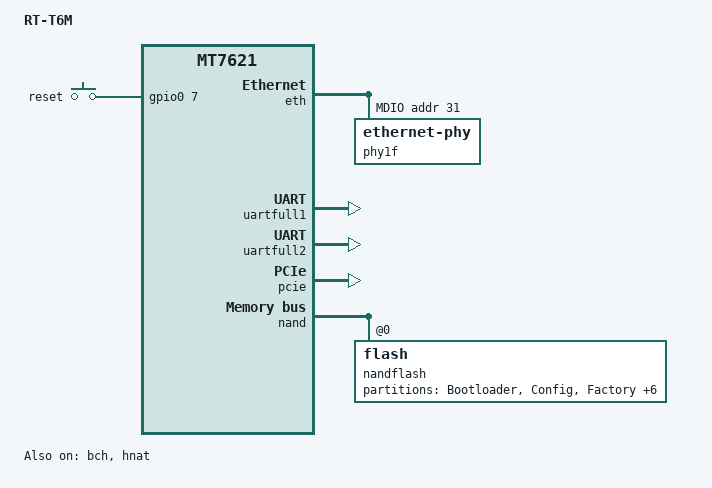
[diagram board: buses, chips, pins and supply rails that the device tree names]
/dts-v1/;

#include "mt7621.dtsi"
#include <dt-bindings/input/input.h>

/ {
	compatible = "mediatek,mt7621-rt-t6m", "mediatek,mt7621-soc";
	model = "RT-T6M";

	chosen {
		bootargs = "console=ttyS0,115200  ROOT=/dev/mtdblock5";
	};

	gpio-keys-polled {
		compatible = "gpio-keys-polled";
		#address-cells = <1>;
		#size-cells = <0>;
		poll-interval = <20>;

		reset {
			label = "reset";
			gpios = <&gpio0 7 0>;
			linux,code = <KEY_RESTART>;
		};
	};
};

&bch {
	status = "okay";
};

&eth {
        status = "okay";
		pinctrl-names = "default";
		pinctrl-0 = <&rgmii1_pins &rgmii2_pins &mdio_pins>;

        gmac0: mac@0 {
                compatible = "mediatek,eth-mac";
                reg = <0>;
                phy-mode = "trgmii";
                fixed-link {
                        speed = <1000>;
                        full-duplex;
                        pause;
                };
        };

        gmac1: mac@1 {
                compatible = "mediatek,eth-mac";
                reg = <1>;
                phy-mode = "rgmii";
                fixed-link {
                        speed = <1000>;
                        full-duplex;
                        pause;
                };
        };

        mdio: mdio-bus {
                #address-cells = <1>;
                #size-cells = <0>;

                phy1f: ethernet-phy@1f {
                        reg = <0x1f>;
                        phy-mode = "rgmii";
                };
        };
};

&gsw {
        mediatek,mdio = <&mdio>;
        mediatek,portmap = "wllll";
        mediatek,mcm;
	mt7530,direct-phy-access;

        resets = <&rstctrl 2>;
        reset-names = "mcm";

        port5: port@5 {
                compatible = "mediatek,mt753x-port";
                reg = <5>;
                phy-mode = "rgmii";
                fixed-link {
                        speed = <1000>;
                        full-duplex;
                };
        };

        port6: port@6 {
                compatible = "mediatek,mt753x-port";
                reg = <6>;
                phy-mode = "trgmii";
                fixed-link {
                        speed = <1000>;
                        full-duplex;
                };
        };

        mdio-bus {
                #address-cells = <1>;
                #size-cells = <0>;
        };
};

&hnat {
        mtketh-wan = "eth1";
        mtketh-ppd = "vlan1";
		mtketh-lan = "vlan1";
        ext-devices = "rai0", "ra0", "rai1", "ra1", "rai2", "ra2", "rai3", "ra3", "apclii0", "apcli0";
        mtketh-max-gmac = <2>;
        status = "okay";
};

&pinctrl {
	state_default: pinctrl0 {
		gpio {
			mtk,group = "i2c";
			mtk,function = "gpio";
		};

		uart2 {
			mtk,group = "uart2";
			mtk,function = "gpio";
		};

		uart3 {
			mtk,group = "uart3";
			mtk,function = "gpio";
		};

		jtag {
			mtk,group = "jtag";
			mtk,function = "gpio";
		};

		wdt {
			mtk,group = "wdt";
			mtk,function = "gpio";
		};
	};
};

&uartfull1 {
	status = "okay";
};

&uartfull2 {
	status = "okay";
};

&pcie {
	status = "okay";
};


&nand {
	status = "okay";

	nandflash: flash@0 {
		reg = <0>;
		nand-ecc-mode = "hw";
		partitions {
			compatible = "fixed-partitions";
			#address-cells = <1>;
			#size-cells = <1>;

			partition@0 {
				label = "Bootloader";
				reg = <0x0 0x80000>; /* 512k */
			};

			partition@80000 {
				label = "Config";
				reg = <0x80000 0x80000>; /* 512k */
			};

			partition@100000 {
				label = "Factory";
				reg = <0x100000 0x80000>; /* 512k */
			};

			partition@180000 {
				label = "Crash";
				reg = <0x180000 0x80000>; /* 512k */
			};

			partition@200000 {
				label = "firmware";
				reg = <0x200000 0x1800000>; /* 24M */
			};

			partition@1a00000 {
				label = "Config";
				reg = <0x1a00000 0x80000>; /* 512K */
			};

			partition@1a80000 {
				label = "Storage";
				reg = <0x1a80000 0x400000>; /* 4096K */
			};

			partition@1e80000 {
				label = "RWFS";
				reg = <0x1e80000 0x6100000>;
			};

			partition@all {
				label = "ALL";
				reg = <0x0 0x7f80000>;
			};
		};
	};
};
